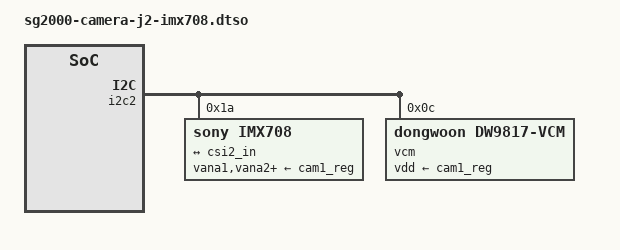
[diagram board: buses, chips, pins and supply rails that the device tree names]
// SPDX-License-Identifier: (GPL-2.0 OR MIT)
/*
 * Raspberry Pi Camera Module 3 (Sony IMX708 with a DW9817 focus driver) on
 * the Milk-V Duo S J2 connector. Sensor at 0x1a, focus driver at 0x0c.
 */
/dts-v1/;
/plugin/;

#define J2_CAM_CLOCK_HZ 24000000
#include "sg2000-j2-camera.dtsi"

&i2c2 {
	#address-cells = <1>;
	#size-cells = <0>;

	imx708: camera@1a {
		compatible = "sony,imx708";
		reg = <0x1a>;
		clocks = <&cam1_clk>;
		vana1-supply = <&cam1_reg>;
		vana2-supply = <&cam1_reg>;
		vdig-supply = <&cam1_reg>;
		vddl-supply = <&cam1_reg>;
		lens-focus = <&vcm>;
		/* Camera Module 3 on a ribbon cable; its sensor is mounted upside down */
		orientation = <2>;
		rotation = <180>;

		port {
			sensor_out: endpoint {
				remote-endpoint = <&csi2_in>;
				data-lanes = <1 2>;
				link-frequencies = /bits/ 64 <450000000>;
			};
		};
	};

	vcm: focus@c {
		/* dw9817-vcm from sg200x-camera-dkms; mainline knows only the DW9807 */
		compatible = "dongwoon,dw9817-vcm";
		reg = <0x0c>;
		vdd-supply = <&cam1_reg>;
	};
};
